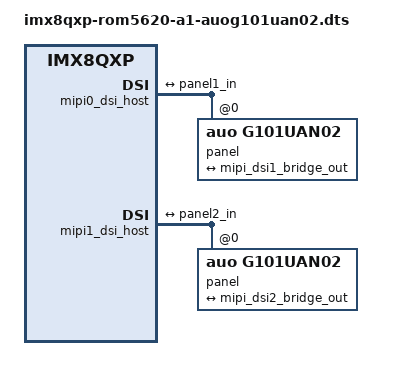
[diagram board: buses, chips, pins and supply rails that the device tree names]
/*
 * Copyright 2018 NXP
 *
 * This program is free software; you can redistribute it and/or
 * modify it under the terms of the GNU General Public License
 * as published by the Free Software Foundation; either version 2
 * of the License, or (at your option) any later version.
 *
 * This program is distributed in the hope that it will be useful,
 * but WITHOUT ANY WARRANTY; without even the implied warranty of
 * MERCHANTABILITY or FITNESS FOR A PARTICULAR PURPOSE.  See the
 * GNU General Public License for more details.
 */

#include "imx8qxp-rom5620-a1.dts"

&ldb1 {
	status = "disabled";
};

&ldb2 {
	status = "disabled";
};

&mipi0_dsi_host {
	status = "okay";
	fsl,clock-drop-level = <2>;

	panel@0 {
                compatible = "auo,g101uan02";
                reg = <0>;
                #address-cells = <1>;
                #size-cells = <0>;
                port@0 {
                        reg = <0>;
                        panel1_in: endpoint {
                                remote-endpoint = <&mipi_dsi1_bridge_out>;
                        };
                };
        };
        ports {
                port@1 {
                        reg = <1>;
                        mipi_dsi1_bridge_out: endpoint {
                                remote-endpoint = <&panel1_in>;
                        };
                };
        };
};
&mipi1_dsi_host {
	status = "okay";
	fsl,clock-drop-level = <2>;

	panel@0 {
                compatible = "auo,g101uan02";
                reg = <0>;
                #address-cells = <1>;
                #size-cells = <0>;
                port@0 {
                        reg = <0>;
                        panel2_in: endpoint {
                                remote-endpoint = <&mipi_dsi2_bridge_out>;
                        };
                };
        };
        ports {
                port@1 {
                        reg = <1>;
			mipi_dsi2_bridge_out: endpoint {
				remote-endpoint = <&panel2_in>;
			};
                };
        };
};

